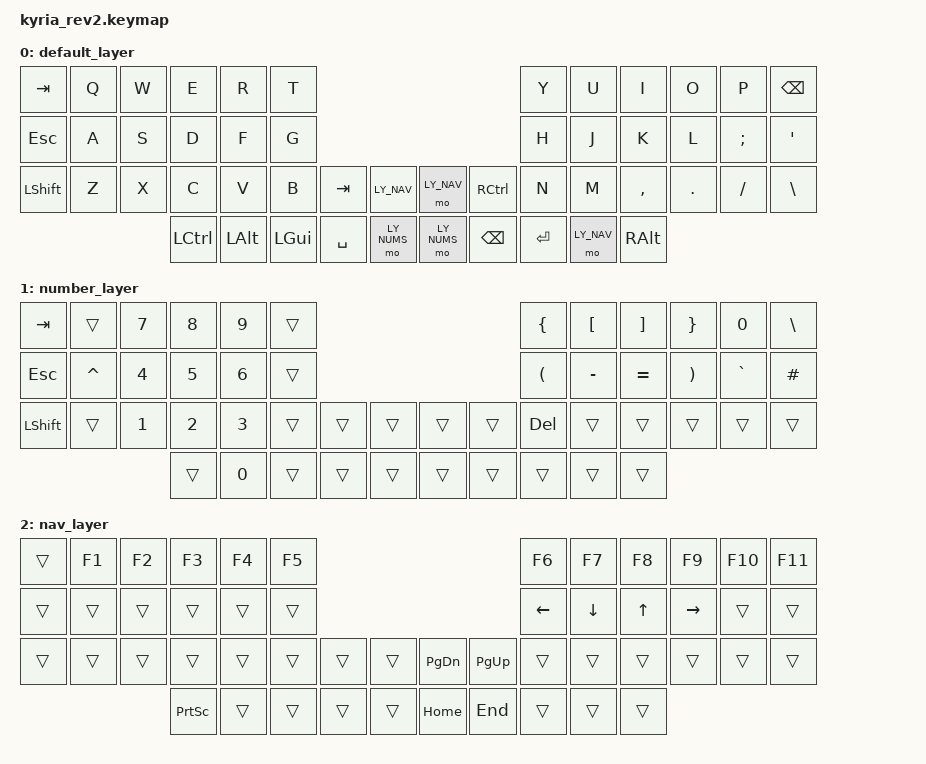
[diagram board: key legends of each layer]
/*
 * Copyright (c) 2020 The ZMK Contributors
 *
 * SPDX-License-Identifier: MIT
 */

#define DEFAULT 0
#define LY_NUMS 1
#define LY_NAV 2

#include <behaviors.dtsi>
#include <dt-bindings/zmk/keys.h>

/ {
	keymap {
		compatible = "zmk,keymap";

		default_layer {
// ---------------------------------------------------------------------------------------------------------------------------------
// | TAB    |  Q  |  W  |  E   |  R   |  T   |                                         |  Y   |  U    |  I    |  O   |   P   | BKPS |
// | ESC    |  A  |  S  |  D   |  F   |  G   |                                         |  H   |  J    |  K    |  L   |   ;   |   '  |
// | LSHIFT |  Z  |  X  |  C   |  V   |  B   | LCTRL   | L SHIFT |  | DEL     | LSHIFT |  N   |  M    |  ,    |  .   |   /   | \    |
//                      | LCTR | ALT  | GUI  |  SPACE  | LY_NUMS |  | LY_NUMS | BSPC   | RET  | LY_NAV | R-ALT |
			bindings = <
	&kp TAB     &kp Q &kp W    &kp E     &kp R    &kp T                                                      &kp Y    &kp U      &kp I     &kp O   &kp P    &kp BKSP
	&kp ESC     &kp A &kp S    &kp D     &kp F    &kp G                                                      &kp H    &kp J      &kp K     &kp L   &kp SEMI &kp SQT
	&kp LSHIFT  &kp Z &kp X    &kp C     &kp V    &kp B    &kp TAB   &kp LY_NAV       &mo LY_NAV   &kp RCTRL &kp N    &kp M      &kp COMMA &kp DOT &kp FSLH &kp BSLH 
                             &kp LCTRL &kp LALT &kp LGUI &kp SPACE &mo LY_NUMS      &mo LY_NUMS  &kp BKSP  &kp RET  &mo LY_NAV &kp RALT
                >;
			// sensor-bindings = <&inc_dec_kp C_VOL_UP C_VOL_DN &inc_dec_kp PG_UP PG_DN>;
		};

		number_layer {
// ---------------------------------------------------------------------------------------------------------------------------------
// |  TAB  |  1  |  2  |  3  |  4  |  5  |                          |  6  |  7  |  8  |  9  |   0  |  --- |
// | LSHIFT  |  ^  |  {  |  [  |  ]  |  }  |                          |  (  |  -  |  =  |  )  |  `~  | #    |
// | SHIFT |  F1 |  F2 |  F3 |  F4 |  F5 | --- | --- |  | --- | --- |  F6 |  F7 | F8  |  F9 |  F10 | F11  |
//                     | --- | --- | --- | --- | --- |  | --- | --- | --- | --- | --- |
			bindings = <
	&kp TAB     &trans    &kp NUM_7   &kp NUM_8 &kp NUM_9 &trans                                    &kp LBRC  &kp LBKT  &kp RBKT  &kp RBRC  &kp NUM_0 &kp BSLH
	&kp ESC     &kp CARET &kp NUM_4   &kp NUM_5 &kp NUM_6 &trans                                    &kp LPAR  &kp MINUS &kp EQUAL &kp RPAR  &kp GRAVE &kp HASH
	&kp LSHIFT  &trans    &kp NUM_1   &kp NUM_2 &kp NUM_3 &trans  &trans &trans       &trans &trans &kp DEL   &trans    &trans    &trans    &trans    &trans
	                                  &trans    &kp NUM_0 &trans  &trans &trans       &trans &trans &trans    &trans    &trans
			>;
		};
      
		nav_layer {
// ---------------------------------------------------------------------------------------------------------------------------------
// | --- | --- | --- | --- | --- | --- |                          |  -- |  -- |  -- |  -- |  --- |  --- |
// | --- | --- | --- | --- | --- | --- |                          |  <- |  v  |  ^  |  -> |  --- |  --- |
// | --- | --- | --- | --- | --- | --- | PG_DN | PG_UP |  | --- | --- | --- | --- | --- |  -- |  --- |  --- |
//                     | PSCR | --- | HOME | END | --- |  | --- | --- | --- | --- | --- |
			bindings = <
	&trans &kp F1    &kp F2    &kp F3    &kp F4    &kp F5                              &kp F6    &kp F7    &kp F8    &kp F9    &kp F10   &kp F11
	&trans &trans &trans &trans &trans &trans                                          &kp LEFT  &kp DOWN  &kp UP  &kp RIGHT &trans &trans
    &trans &trans &trans &trans &trans &trans &trans &trans        &kp PG_DN &kp PG_UP &trans    &trans &trans &trans &trans &trans
	                     &kp PSCRN &trans &trans &trans &trans     &kp HOME &kp END    &trans    &trans &trans
			>;
		};
	};
};
